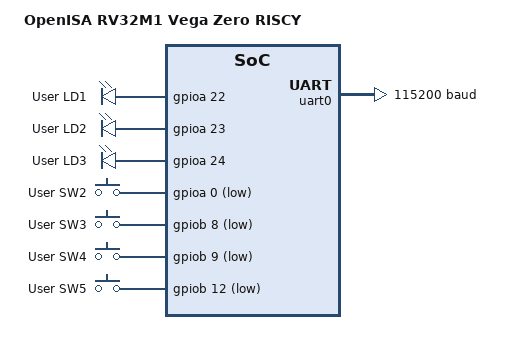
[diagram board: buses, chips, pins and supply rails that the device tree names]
/dts-v1/;

#include "rv32m1_zero_riscy.dtsi"

/ {
	model = "OpenISA RV32M1 Vega Zero RISCY";
	compatible = "openisa,rv32m1";

	aliases {
		led0 = &green_led;
		led1 = &blue_led;
		led2 = &red_led;
		sw0 = &user_button_2;
		sw1 = &user_button_3;
		sw2 = &user_button_4;
		sw3 = &user_button_5;
	};

	chosen {
		zephyr,sram = &sram0;
		zephyr,console = &uart0;
		zephyr,uart-pipe = &uart0;
		zephyr,flash = &flash0;
		zephyr,flash-ctrl = &fctrl0;
	};

	leds {
		compatible = "gpio-leds";
		red_led: led_0 {
			gpios = <&gpioa 22 0>;
			label = "User LD1";
		};
		green_led: led_1 {
			gpios = <&gpioa 23 0>;
			label = "User LD2";
		};
		blue_led: led_2 {
			gpios = <&gpioa 24 0>;
			label = "User LD3";
		};
	};

	gpio_keys {
		compatible = "gpio-keys";
		user_button_2: button_0 {
			label = "User SW2";
			gpios = <&gpioa 0 GPIO_INT_ACTIVE_LOW>;
		};
		user_button_3: button_1 {
			label = "User SW3";
			gpios = <&gpiob 8 GPIO_INT_ACTIVE_LOW>;
		};
		user_button_4: button_2 {
			label = "User SW4";
			gpios = <&gpiob 9 GPIO_INT_ACTIVE_LOW>;
		};
		user_button_5: button_3 {
			label = "User SW5";
			gpios = <&gpiob 12 GPIO_INT_ACTIVE_LOW>;
		};
	};
};

&uart0 {
	current-speed = <115200>;
	status = "ok";
};

&flash0 {
	/*
	 * For more information, see:
	 * http://docs.zephyrproject.org/devices/dts/flash_partitions.html
	 */
	partitions {
		compatible = "fixed-partitions";
		#address-cells = <1>;
		#size-cells = <1>;

		boot_partition: partition@0 {
			label = "mcuboot";
			reg = <0x01000000 0x00030000>;
			read-only;
		};

		storage_partition: partition@1e000 {
			label = "storage";
			reg = <0x01030000 0x00002000>;
		};

		scratch_partition: partition@20000 {
			label = "image-scratch";
			reg = <0x01032000 0x0000f000>;
		};
	};
};
